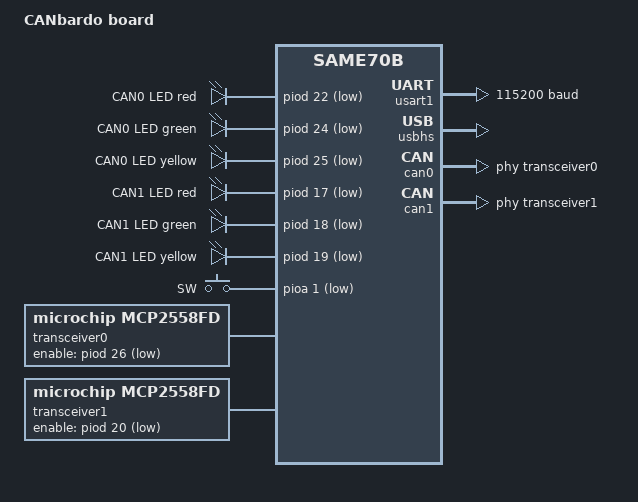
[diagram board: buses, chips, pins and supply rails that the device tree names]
/*
 * Copyright (c) 2024 Henrik Brix Andersen <henrik@brixandersen.dk>
 * SPDX-License-Identifier: Apache-2.0
 */

/dts-v1/;

/* TODO: same70n20b.dtsi */
#include <atmel/same70q21b.dtsi>
#include <zephyr/dt-bindings/gpio/gpio.h>
#include <zephyr/dt-bindings/input/input-event-codes.h>
#include "canbardo-pinctrl.dtsi"

/ {
	model = "CANbardo board";
	compatible = "canbardo", "atmel,same70n20b", "atmel,same70b";

	chosen {
		zephyr,console = &usart1;
		zephyr,shell-uart = &usart1;
		zephyr,sram = &sram0;
		zephyr,flash = &flash0;
		zephyr,canbus = &can0;
	};

	aliases {
		led0 = &can_0_ledg;
		sw0 = &sw;
	};

	leds {
		compatible = "gpio-leds";

		can_0_ledr: can_0_ledr {
			gpios = <&piod 22 GPIO_ACTIVE_LOW>;
			label = "CAN0 LED red";
		};

		can_0_ledg: can_0_ledg {
			gpios = <&piod 24 GPIO_ACTIVE_LOW>;
			label = "CAN0 LED green";
		};

		can_0_ledy: can_0_ledy {
			gpios = <&piod 25  GPIO_ACTIVE_LOW>;
			label = "CAN0 LED yellow";
		};

		can_1_ledr: can_1_ledr {
			gpios = <&piod 17  GPIO_ACTIVE_LOW>;
			label = "CAN1 LED red";
		};

		can_1_ledg: can_1_ledg {
			gpios = <&piod 18 GPIO_ACTIVE_LOW>;
			label = "CAN1 LED green";
		};

		can_1_ledy: can_1_ledy {
			gpios = <&piod 19 GPIO_ACTIVE_LOW>;
			label = "CAN1 LED yellow";
		};
	};

	gpio_keys {
		compatible = "gpio-keys";

		sw: sw {
			label = "SW";
			gpios = <&pioa 1 GPIO_ACTIVE_LOW>;
			zephyr,code = <INPUT_KEY_0>;
		};
	};

	transceiver0: can-phy0 {
		compatible = "microchip,mcp2558fd", "can-transceiver-gpio";
		enable-gpios = <&piod 26 GPIO_ACTIVE_LOW>;
		max-bitrate = <8000000>;
		#phy-cells = <0>;
	};

	transceiver1: can-phy1 {
		compatible = "microchip,mcp2558fd", "can-transceiver-gpio";
		enable-gpios = <&piod 20 GPIO_ACTIVE_LOW>;
		max-bitrate = <8000000>;
		#phy-cells = <0>;
	};
};

&cpu0 {
	clock-frequency = <300000000>;
};

&usart1 {
	status = "okay";
	current-speed = <115200>;
	pinctrl-0 = <&usart1_default>;
	pinctrl-names = "default";
};

zephyr_udc0: &usbhs {
	status = "okay";
};

&can0 {
	status = "okay";
	pinctrl-0 = <&can0_default>;
	pinctrl-names = "default";
	phys = <&transceiver0>;
};

&can1 {
	status = "okay";
	pinctrl-0 = <&can1_default>;
	pinctrl-names = "default";
	phys = <&transceiver1>;
};
